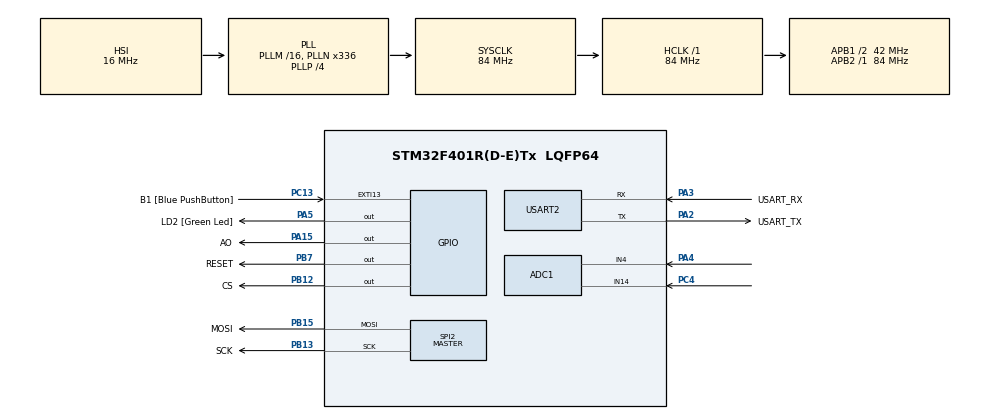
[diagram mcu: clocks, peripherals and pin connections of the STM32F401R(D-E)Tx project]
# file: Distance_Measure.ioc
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ADC1.Channel-0\#ChannelRegularConversion=ADC_CHANNEL_14
ADC1.NbrOfConversionFlag=1
ADC1.Rank-0\#ChannelRegularConversion=1
ADC1.SamplingTime-0\#ChannelRegularConversion=ADC_SAMPLETIME_3CYCLES
ADC1.master=1
Mcu.Family=STM32F4
Mcu.Name=STM32F401R(D-E)Tx
Mcu.Package=LQFP64
NVIC.ADC_IRQn=true\:0\:0\:false\:false\:true\:true\:true\:true
NVIC.PriorityGroup=NVIC_PRIORITYGROUP_4
NVIC.TIM2_IRQn=true\:0\:0\:false\:false\:true\:true\:true\:true
PA13.GPIO_Label=TMS
PA13.Mode=Trace_Asynchronous_SW
PA13.Signal=SYS_JTMS-SWDIO
PA14.GPIO_Label=TCK
PA14.Mode=Trace_Asynchronous_SW
PA14.Signal=SYS_JTCK-SWCLK
PA15.GPIO_Label=AO
PA15.Signal=GPIO_Output
PA2.GPIO_Label=USART_TX
PA2.GPIO_Mode=GPIO_MODE_AF_PP
PA2.GPIO_PuPd=GPIO_NOPULL
PA2.GPIO_Speed=GPIO_SPEED_FREQ_LOW
PA2.Mode=Asynchronous
PA2.Signal=USART2_TX
PA3.GPIO_Label=USART_RX
PA3.GPIO_Mode=GPIO_MODE_AF_PP
PA3.GPIO_PuPd=GPIO_NOPULL
PA3.GPIO_Speed=GPIO_SPEED_FREQ_LOW
PA3.Mode=Asynchronous
PA3.Signal=USART2_RX
PA4.Signal=ADCx_IN4
PA5.GPIO_Label=LD2 [Green Led]
PA5.GPIO_Mode=GPIO_MODE_OUTPUT_PP
PA5.GPIO_PuPd=GPIO_NOPULL
PA5.GPIO_Speed=GPIO_SPEED_FREQ_LOW
PA5.Signal=GPIO_Output
PB12.GPIO_Label=CS
PB12.Signal=GPIO_Output
PB13.GPIO_Label=SCK
PB13.Mode=TX_Only_Simplex_Unidirect_Master
PB13.Signal=SPI2_SCK
PB15.GPIO_Label=MOSI
PB15.Mode=TX_Only_Simplex_Unidirect_Master
PB15.Signal=SPI2_MOSI
PB3.GPIO_Label=SWO
PB3.Mode=Trace_Asynchronous_SW
PB3.Signal=SYS_JTDO-SWO
PB7.GPIO_Label=RESET
PB7.Signal=GPIO_Output
PC13-ANTI_TAMP.GPIO_Label=B1 [Blue PushButton]
PC13-ANTI_TAMP.GPIO_ModeDefaultEXTI=GPIO_MODE_IT_FALLING
PC13-ANTI_TAMP.GPIO_PuPd=GPIO_NOPULL
PC13-ANTI_TAMP.Signal=GPXTI13
PC14-OSC32_IN.Mode=LSE-External-Oscillator
PC14-OSC32_IN.Signal=RCC_OSC32_IN
PC15-OSC32_OUT.Mode=LSE-External-Oscillator
PC15-OSC32_OUT.Signal=RCC_OSC32_OUT
PC4.Signal=ADCx_IN14
PH0\ -\ OSC_IN.Mode=HSE-External-Clock-Source
PH0\ -\ OSC_IN.Signal=RCC_OSC_IN
PH1\ -\ OSC_OUT.Mode=HSE-External-Clock-Source
PH1\ -\ OSC_OUT.Signal=RCC_OSC_OUT
ProjectManager.HeapSize=0x200
ProjectManager.StackSize=0x400
ProjectManager.TargetToolchain=STM32CubeIDE
RCC.48MHZClocksFreq_Value=48000000
RCC.AHBFreq_Value=84000000
RCC.APB1CLKDivider=RCC_HCLK_DIV2
RCC.APB1Freq_Value=42000000
RCC.APB1TimFreq_Value=84000000
RCC.APB2Freq_Value=84000000
RCC.APB2TimFreq_Value=84000000
RCC.CortexFreq_Value=84000000
RCC.HCLKFreq_Value=84000000
RCC.HSE_VALUE=8000000
RCC.HSI_VALUE=16000000
RCC.PLLN=336
RCC.PLLP=RCC_PLLP_DIV4
RCC.PLLQ=7
RCC.SYSCLKFreq_VALUE=84000000
RCC.SYSCLKSource=RCC_SYSCLKSOURCE_PLLCLK
RCC.VCOOutputFreq_Value=336000000
SH.ADCx_IN14.0=ADC1_IN14,IN14
SH.ADCx_IN4.0=ADC1_IN4,IN4
SPI2.Direction=SPI_DIRECTION_2LINES
SPI2.Mode=SPI_MODE_MASTER
SPI2.VirtualType=VM_MASTER
TIM2.AutoReloadPreload=TIM_AUTORELOAD_PRELOAD_ENABLE
TIM2.Period=8400000
USART2.VirtualMode=VM_ASYNC
VP_TIM2_VS_ClockSourceINT.Mode=Internal
board=NUCLEO-F401RE

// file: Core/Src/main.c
/* USER CODE BEGIN Header */
/**
  ******************************************************************************
  * @file           : main.c
  * @brief          : Main program body
  ******************************************************************************
  * @attention
  *
  * Copyright (c) 2025 STMicroelectronics.
  * All rights reserved.
  *
  * This software is licensed under terms that can be found in the LICENSE file
  * in the root directory of this software component.
  * If no LICENSE file comes with this software, it is provided AS-IS.
  *
  *code in st7735 folder and loop function is written by afiskon: https://github.com/afiskon/stm32-st7735
  *
  ******************************************************************************
  */
/* USER CODE END Header */
#include "main.h"

/* USER CODE BEGIN Includes */
#include "st7735.h"
#include "fonts.h"
#include "testimg.h"
#include "graph.h"

#include "math.h"
/* USER CODE END Includes */

/* USER CODE BEGIN PD */

// how many digits in number
#define RESOLUTION 3

/* USER CODE END PD */

ADC_HandleTypeDef hadc1;

SPI_HandleTypeDef hspi2;

TIM_HandleTypeDef htim2;

UART_HandleTypeDef huart2;

void SystemClock_Config(void);
static void MX_GPIO_Init(void);
static void MX_USART2_UART_Init(void);
static void MX_SPI2_Init(void);
static void MX_ADC1_Init(void);
static void MX_TIM2_Init(void);

/* USER CODE BEGIN 0 */
//void loop();
void testing_screen();

/* USER CODE END 0 */

int main(void)
{

  /* MCU Configuration--------------------------------------------------------*/

  /* Reset of all peripherals, Initializes the Flash interface and the Systick. */
  HAL_Init();

  /* Configure the system clock */
  SystemClock_Config();

  /* Initialize all configured peripherals */
  MX_GPIO_Init();
  MX_USART2_UART_Init();
  MX_SPI2_Init();
  MX_ADC1_Init();
  MX_TIM2_Init();
  /* USER CODE BEGIN 2 */
  ST7735_Init();
  /* USER CODE END 2 */

  /* Infinite loop */
  /* USER CODE BEGIN WHILE */

//  testing_screen();

  ST7735_FillScreen(BACKGROUND);

  HAL_TIM_Base_Start_IT(&htim2); //start 10Hz periodic interrupt

  while (1)
  {
//	  loop();

    /* USER CODE END WHILE */

  }
}

void SystemClock_Config(void)
{
  RCC_OscInitTypeDef RCC_OscInitStruct = {0};
  RCC_ClkInitTypeDef RCC_ClkInitStruct = {0};

  /** Configure the main internal regulator output voltage
  */
  __HAL_RCC_PWR_CLK_ENABLE();
  __HAL_PWR_VOLTAGESCALING_CONFIG(PWR_REGULATOR_VOLTAGE_SCALE2);

  /** Initializes the RCC Oscillators according to the specified parameters
  * in the RCC_OscInitTypeDef structure.
  */
  RCC_OscInitStruct.OscillatorType = RCC_OSCILLATORTYPE_HSI;
  RCC_OscInitStruct.HSIState = RCC_HSI_ON;
  RCC_OscInitStruct.HSICalibrationValue = RCC_HSICALIBRATION_DEFAULT;
  RCC_OscInitStruct.PLL.PLLState = RCC_PLL_ON;
  RCC_OscInitStruct.PLL.PLLSource = RCC_PLLSOURCE_HSI;
  RCC_OscInitStruct.PLL.PLLM = 16;
  RCC_OscInitStruct.PLL.PLLN = 336;
  RCC_OscInitStruct.PLL.PLLP = RCC_PLLP_DIV4;
  RCC_OscInitStruct.PLL.PLLQ = 7;
  if (HAL_RCC_OscConfig(&RCC_OscInitStruct) != HAL_OK)
  {
    Error_Handler();
  }

  /** Initializes the CPU, AHB and APB buses clocks
  */
  RCC_ClkInitStruct.ClockType = RCC_CLOCKTYPE_HCLK|RCC_CLOCKTYPE_SYSCLK
                              |RCC_CLOCKTYPE_PCLK1|RCC_CLOCKTYPE_PCLK2;
  RCC_ClkInitStruct.SYSCLKSource = RCC_SYSCLKSOURCE_PLLCLK;
  RCC_ClkInitStruct.AHBCLKDivider = RCC_SYSCLK_DIV1;
  RCC_ClkInitStruct.APB1CLKDivider = RCC_HCLK_DIV2;
  RCC_ClkInitStruct.APB2CLKDivider = RCC_HCLK_DIV1;

  if (HAL_RCC_ClockConfig(&RCC_ClkInitStruct, FLASH_LATENCY_2) != HAL_OK)
  {
    Error_Handler();
  }
}

static void MX_ADC1_Init(void)
{

  ADC_ChannelConfTypeDef sConfig = {0};

  /** Configure the global features of the ADC (Clock, Resolution, Data Alignment and number of conversion)
  */
  hadc1.Instance = ADC1;
  hadc1.Init.ClockPrescaler = ADC_CLOCK_SYNC_PCLK_DIV4;
  hadc1.Init.Resolution = ADC_RESOLUTION_12B;
  hadc1.Init.ScanConvMode = DISABLE;
  hadc1.Init.ContinuousConvMode = DISABLE;
  hadc1.Init.DiscontinuousConvMode = DISABLE;
  hadc1.Init.ExternalTrigConvEdge = ADC_EXTERNALTRIGCONVEDGE_NONE;
  hadc1.Init.ExternalTrigConv = ADC_SOFTWARE_START;
  hadc1.Init.DataAlign = ADC_DATAALIGN_RIGHT;
  hadc1.Init.NbrOfConversion = 1;
  hadc1.Init.DMAContinuousRequests = DISABLE;
  hadc1.Init.EOCSelection = ADC_EOC_SINGLE_CONV;
  if (HAL_ADC_Init(&hadc1) != HAL_OK)
  {
    Error_Handler();
  }

  /** Configure for the selected ADC regular channel its corresponding rank in the sequencer and its sample time.
  */
  sConfig.Channel = ADC_CHANNEL_14;
  sConfig.Rank = 1;
  sConfig.SamplingTime = ADC_SAMPLETIME_3CYCLES;
  if (HAL_ADC_ConfigChannel(&hadc1, &sConfig) != HAL_OK)
  {
    Error_Handler();
  }

}

static void MX_SPI2_Init(void)
{

  /* SPI2 parameter configuration*/
  hspi2.Instance = SPI2;
  hspi2.Init.Mode = SPI_MODE_MASTER;
  hspi2.Init.Direction = SPI_DIRECTION_2LINES;
  hspi2.Init.DataSize = SPI_DATASIZE_8BIT;
  hspi2.Init.CLKPolarity = SPI_POLARITY_LOW;
  hspi2.Init.CLKPhase = SPI_PHASE_1EDGE;
  hspi2.Init.NSS = SPI_NSS_SOFT;
  hspi2.Init.BaudRatePrescaler = SPI_BAUDRATEPRESCALER_2;
  hspi2.Init.FirstBit = SPI_FIRSTBIT_MSB;
  hspi2.Init.TIMode = SPI_TIMODE_DISABLE;
  hspi2.Init.CRCCalculation = SPI_CRCCALCULATION_DISABLE;
  hspi2.Init.CRCPolynomial = 10;
  if (HAL_SPI_Init(&hspi2) != HAL_OK)
  {
    Error_Handler();
  }

}

static void MX_TIM2_Init(void)
{

  TIM_ClockConfigTypeDef sClockSourceConfig = {0};
  TIM_MasterConfigTypeDef sMasterConfig = {0};

  htim2.Instance = TIM2;
  htim2.Init.Prescaler = 0;
  htim2.Init.CounterMode = TIM_COUNTERMODE_UP;
  htim2.Init.Period = 100000;
  htim2.Init.ClockDivision = TIM_CLOCKDIVISION_DIV1;
  htim2.Init.AutoReloadPreload = TIM_AUTORELOAD_PRELOAD_ENABLE;
  if (HAL_TIM_Base_Init(&htim2) != HAL_OK)
  {
    Error_Handler();
  }
  sClockSourceConfig.ClockSource = TIM_CLOCKSOURCE_INTERNAL;
  if (HAL_TIM_ConfigClockSource(&htim2, &sClockSourceConfig) != HAL_OK)
  {
    Error_Handler();
  }
  sMasterConfig.MasterOutputTrigger = TIM_TRGO_RESET;
  sMasterConfig.MasterSlaveMode = TIM_MASTERSLAVEMODE_DISABLE;
  if (HAL_TIMEx_MasterConfigSynchronization(&htim2, &sMasterConfig) != HAL_OK)
  {
    Error_Handler();
  }

}

static void MX_USART2_UART_Init(void)
{

  huart2.Instance = USART2;
  huart2.Init.BaudRate = 115200;
  huart2.Init.WordLength = UART_WORDLENGTH_8B;
  huart2.Init.StopBits = UART_STOPBITS_1;
  huart2.Init.Parity = UART_PARITY_NONE;
  huart2.Init.Mode = UART_MODE_TX_RX;
  huart2.Init.HwFlowCtl = UART_HWCONTROL_NONE;
  huart2.Init.OverSampling = UART_OVERSAMPLING_16;
  if (HAL_UART_Init(&huart2) != HAL_OK)
  {
    Error_Handler();
  }

}

static void MX_GPIO_Init(void)
{
  GPIO_InitTypeDef GPIO_InitStruct = {0};

  /* GPIO Ports Clock Enable */
  __HAL_RCC_GPIOC_CLK_ENABLE();
  __HAL_RCC_GPIOH_CLK_ENABLE();
  __HAL_RCC_GPIOA_CLK_ENABLE();
  __HAL_RCC_GPIOB_CLK_ENABLE();

  /*Configure GPIO pin Output Level */
  HAL_GPIO_WritePin(GPIOA, LD2_Pin|AO_Pin, GPIO_PIN_RESET);

  /*Configure GPIO pin Output Level */
  HAL_GPIO_WritePin(GPIOB, CS_Pin|RESET_Pin, GPIO_PIN_RESET);

  /*Configure GPIO pin : B1_Pin */
  GPIO_InitStruct.Pin = B1_Pin;
  GPIO_InitStruct.Mode = GPIO_MODE_IT_FALLING;
  GPIO_InitStruct.Pull = GPIO_NOPULL;
  HAL_GPIO_Init(B1_GPIO_Port, &GPIO_InitStruct);

  /*Configure GPIO pins : LD2_Pin AO_Pin */
  GPIO_InitStruct.Pin = LD2_Pin|AO_Pin;
  GPIO_InitStruct.Mode = GPIO_MODE_OUTPUT_PP;
  GPIO_InitStruct.Pull = GPIO_NOPULL;
  GPIO_InitStruct.Speed = GPIO_SPEED_FREQ_LOW;
  HAL_GPIO_Init(GPIOA, &GPIO_InitStruct);

  /*Configure GPIO pins : CS_Pin RESET_Pin */
  GPIO_InitStruct.Pin = CS_Pin|RESET_Pin;
  GPIO_InitStruct.Mode = GPIO_MODE_OUTPUT_PP;
  GPIO_InitStruct.Pull = GPIO_NOPULL;
  GPIO_InitStruct.Speed = GPIO_SPEED_FREQ_LOW;
  HAL_GPIO_Init(GPIOB, &GPIO_InitStruct);

}

/* USER CODE BEGIN 4 */

//loop function written by afiskon

void loop() {
    // Check border
    ST7735_FillScreen(ST7735_BLACK);

    for(int x = 0; x < ST7735_WIDTH; x++) {
        ST7735_DrawPixel(x, 0, ST7735_RED);
        ST7735_DrawPixel(x, ST7735_HEIGHT-1, ST7735_RED);
    }

    for(int y = 0; y < ST7735_HEIGHT; y++) {
        ST7735_DrawPixel(0, y, ST7735_RED);
        ST7735_DrawPixel(ST7735_WIDTH-1, y, ST7735_RED);
    }

    HAL_Delay(3000);

    // Check fonts
    ST7735_FillScreen(ST7735_BLACK);
    ST7735_WriteString(0, 0, "Font_7x10, red on black, lorem ipsum dolor sit amet", Font_7x10, ST7735_RED, ST7735_BLACK);
    ST7735_WriteString(0, 3*10, "Font_11x18, green, lorem ipsum", Font_11x18, ST7735_GREEN, ST7735_BLACK);
    ST7735_WriteString(0, 3*10+3*18, "Font_16x26", Font_16x26, ST7735_BLUE, ST7735_BLACK);
    HAL_Delay(2000);

    // Check colors
    ST7735_FillScreen(ST7735_BLACK);
    ST7735_WriteString(0, 0, "BLACK", Font_11x18, ST7735_WHITE, ST7735_BLACK);
    HAL_Delay(500);

    ST7735_FillScreen(ST7735_BLUE);
    ST7735_WriteString(0, 0, "BLUE", Font_11x18, ST7735_BLACK, ST7735_BLUE);
    HAL_Delay(500);

    ST7735_FillScreen(ST7735_RED);
    ST7735_WriteString(0, 0, "RED", Font_11x18, ST7735_BLACK, ST7735_RED);
    HAL_Delay(500);

    ST7735_FillScreen(ST7735_GREEN);
    ST7735_WriteString(0, 0, "GREEN", Font_11x18, ST7735_BLACK, ST7735_GREEN);
    HAL_Delay(500);

    ST7735_FillScreen(ST7735_CYAN);
    ST7735_WriteString(0, 0, "CYAN", Font_11x18, ST7735_BLACK, ST7735_CYAN);
    HAL_Delay(500);

    ST7735_FillScreen(ST7735_MAGENTA);
    ST7735_WriteString(0, 0, "MAGENTA", Font_11x18, ST7735_BLACK, ST7735_MAGENTA);
    HAL_Delay(500);

    ST7735_FillScreen(ST7735_YELLOW);
    ST7735_WriteString(0, 0, "YELLOW", Font_11x18, ST7735_BLACK, ST7735_YELLOW);
    HAL_Delay(500);

    ST7735_FillScreen(ST7735_WHITE);
    ST7735_WriteString(0, 0, "WHITE", Font_11x18, ST7735_BLACK, ST7735_WHITE);
    HAL_Delay(500);

#ifdef ST7735_IS_128X128
    // Display test image 128x128
    ST7735_DrawImage(0, 0, ST7735_WIDTH, ST7735_HEIGHT, (uint16_t*)test_img_128x128);

    HAL_Delay(15000);
#endif // ST7735_IS_128X128

}

void testing_screen(){
	ST7735_FillScreen(ST7735_COLOR565(11100,110111, 11111));
	ST7735_WriteString(3, 64, "TESTING SCREEN", Font_16x26, ST7735_BLACK, ST7735_COLOR565(11100,110111, 11111));
}

void Out_Fix(uint32_t num){ //outputs num with fixed decimal value
	ST7735_FillScreen(ST7735_COLOR565(11100,110111, 11111));

	char arr[RESOLUTION+2];
	int res = pow(10, RESOLUTION-1);

	for(int i = 0; i <= RESOLUTION; i++){
		if(res < 1){
			//number is too big for the given resolution, output an error
			ST7735_WriteString(0, 64, "ERR", Font_16x26, ST7735_RED, ST7735_COLOR565(11100,110111, 11111));
			return;
		}

		if(i != 1){
			arr[i] = ((num/res) + 0x30);

			num %= res;
			res /= 10;
		}else{
			arr[i] = '.';
		}
	}

	if(num > 0){
		//number is too big for the given resolution, output an error
		ST7735_WriteString(3, 64, "ERR", Font_16x26, ST7735_RED, ST7735_COLOR565(11100,110111, 11111));
		return;
	}

	arr[RESOLUTION+1] = '\0';

	ST7735_WriteString(0, 64, arr, Font_16x26, ST7735_BLACK, ST7735_COLOR565(11100,110111, 11111));
}

void Out_Dec(uint32_t num){ //outputs num as its correct decimal value
	ST7735_FillScreen(ST7735_COLOR565(11100,110111, 11111));

	char arr[RESOLUTION+1];
	int res = 1;
	char val;
	int num_start = -1;
	for(int i = RESOLUTION; i >= 0; i--){

		val = ((num%10) + 0x30);

		if(num == 0){
			arr[i] = 0;
			num /= 10;
			res *= 10;
			num_start = num_start == -1 ? i+1 : num_start;
		}else{
			arr[i] = val;
			num /= 10;
			res *= 10;
		}
	}

	char arr_flip[RESOLUTION + 2];
	if(num > 0){
		//number is too big for the given resolution, output an error
		ST7735_WriteString(3, 64, "ERR", Font_16x26, ST7735_RED, ST7735_COLOR565(11100,110111, 11111));
		return;
	}else{
		num_start = num_start == -1 ? 0 : num_start; // accounts for # of digits = RESOLUTION + 1; allowed, won't be a decimal
		for(int j = 0; j <= RESOLUTION; j++){

			if((j+num_start) <= RESOLUTION){
				arr_flip[j] = arr[j+num_start];
			}else if(j+num_start == RESOLUTION + 1 && num_start != 1){ //prevents awkward decimal when # of digits = RESOLUTION
				arr_flip[j] = '.';
			}else if(j+num_start == RESOLUTION + 1){
				arr_flip[j] = ' ';
			}else{
				arr_flip[j] = '0';
			}
		}
	}

	arr_flip[RESOLUTION+1] = '\0';

	ST7735_WriteString(3, 64, arr_flip, Font_16x26, ST7735_BLACK, ST7735_COLOR565(11100,110111, 11111));
}

/* USER CODE END 4 */

void Error_Handler(void)
{
  __disable_irq();
  while (1)
  {
  }
}
